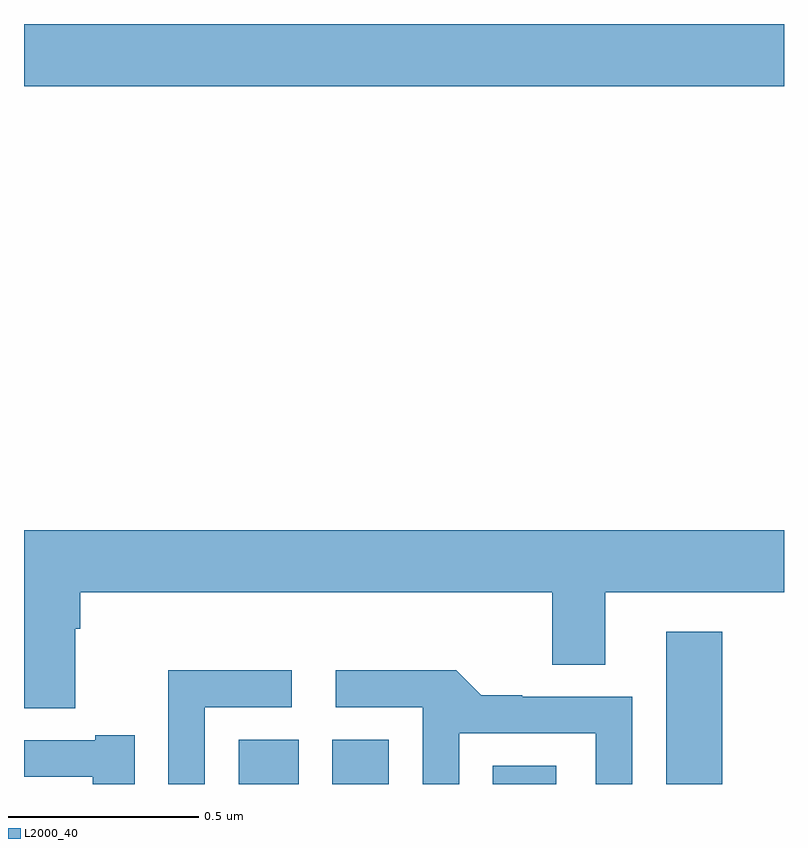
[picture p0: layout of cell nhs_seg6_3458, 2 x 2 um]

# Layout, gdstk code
import gdstk
lib = gdstk.Library(unit=1e-6, precision=1e-09)
def R(c, l, rs):  # rectangles x0, y0, x1, y1
    for r in rs: c.add(gdstk.rectangle(r[:2], r[2:], *l))
def P(c, l, *ps):  # polygons
    for p in ps: c.add(gdstk.Polygon(p, *l))
L2000_40 = (2000, 40)

nhs_seg6_3458 = lib.new_cell('nhs_seg6_3458')
R(nhs_seg6_3458, L2000_40, [(157.565,945.5,157.723,945.617), (157.811,945.5,157.96,945.617), (158.234,945.5,158.401,945.548), (158.69,945.5,158.837,945.901), (157,947.336,159,947.5)])
P(nhs_seg6_3458, L2000_40, [(157.135,945.908),(157.148,945.908),(157.148,946.004),(158.39,946.004),(158.39,945.814),(158.53,945.814),(158.53,946.004),(159,946.004),(159,946.168),(157,946.168),(157,945.7),(157.135,945.7)],
  [(158.145,945.633),(158.505,945.633),(158.505,945.5),(158.601,945.5),(158.601,945.729),(158.311,945.729),(158.311,945.734),(158.203,945.734),(158.138,945.8),(157.821,945.8),(157.821,945.702),(158.049,945.702),(158.049,945.5),(158.145,945.5)],
  [(157.476,945.702),(157.705,945.702),(157.705,945.8),(157.38,945.8),(157.38,945.5),(157.476,945.5)],
  [(157.291,945.628),(157.187,945.628),(157.187,945.615),(157,945.615),(157,945.519),(157.181,945.519),(157.181,945.5),(157.291,945.5)])

lib.write_gds('nhs_seg6_3458.gds')
